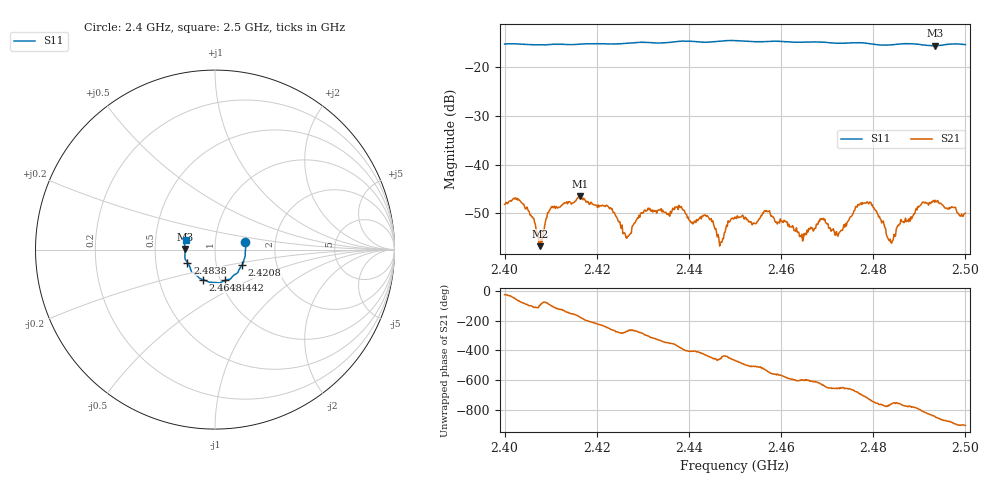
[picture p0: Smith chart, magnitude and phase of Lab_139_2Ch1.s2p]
# Hz S RI R 50
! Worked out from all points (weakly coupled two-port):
!   601 points, 2.4 GHz to 2.5 GHz, reference 50 ohm
!   highest |S21| = -46.44 dB at 2.4163 GHz (marker M1); lowest = -56.7 dB at 2.4077 GHz (marker M2)
!   lowest |S11| = -15.6 dB at 2.4935 GHz (marker M3), VSWR 1.40, Z = 35.8 + j0.213 ohm
!   |S11| at or under -10 dB: start of sweep to end of sweep
!   S12 and S22 are empty: the file has one direction only
!   S11 on the Smith chart (normalised r, x): 2.4 GHz: 1.40, +0.12; 2.4208 GHz: 1.33, -0.24; 2.4442 GHz: 1.05, -0.37; 2.4648 GHz: 0.83, -0.29; 2.4838 GHz: 0.73, -0.11; 2.5 GHz: 0.72, +0.08
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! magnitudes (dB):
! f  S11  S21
! 2.4 GHz  -15.3  -48.1
! 2.4037 GHz  -15.3  -47.8
! 2.4077 GHz  -15.4  -56.7
! 2.4098 GHz  -15.3  -49.2
! 2.4163 GHz  -15.3  -46.4
! 2.4167 GHz  -15.2  -46.9
! 2.4208 GHz  -15.2  -48.4
! 2.4267 GHz  -15.1  -54.7
! 2.4333 GHz  -15.0  -49.3
! 2.4442 GHz  -14.9  -50.7
! 2.447 GHz  -14.7  -55.8
! 2.45 GHz  -14.5  -50.7
! 2.457 GHz  -14.7  -49.6
! 2.4648 GHz  -14.9  -55.2
! 2.4667 GHz  -14.8  -53.1
! 2.469 GHz  -14.9  -51.2
! 2.4722 GHz  -15.1  -54.3
! 2.479 GHz  -15.1  -48.0
! 2.4833 GHz  -15.5  -55.4
! 2.4838 GHz  -15.4  -56.0
! 2.4935 GHz  -15.6  -47.3
! 2.5 GHz  -15.4  -49.9
